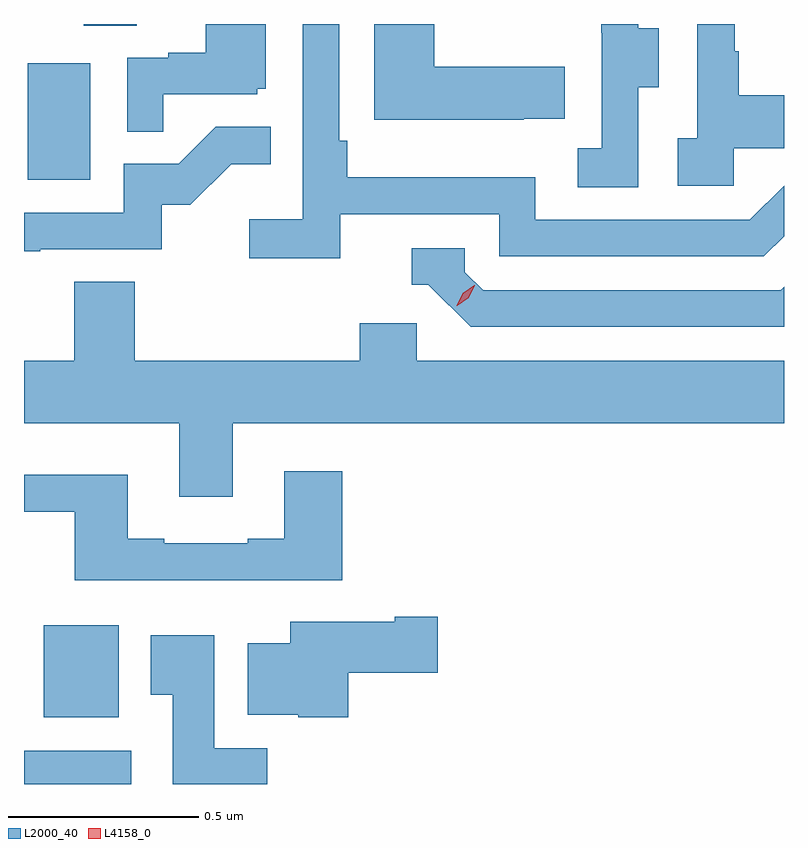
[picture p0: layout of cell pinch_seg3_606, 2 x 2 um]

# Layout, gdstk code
import gdstk
lib = gdstk.Library(unit=1e-6, precision=1e-09)
def R(c, l, rs):  # rectangles x0, y0, x1, y1
    for r in rs: c.add(gdstk.rectangle(r[:2], r[2:], *l))
def P(c, l, *ps):  # polygons
    for p in ps: c.add(gdstk.Polygon(p, *l))
L2000_40 = (2000, 40)
L4158_0 = (4158, 0)

pinch_seg3_606 = lib.new_cell('pinch_seg3_606')
R(pinch_seg3_606, L2000_40, [(1028.668,691.974,1028.95,692.062), (1028.72,692.15,1028.917,692.392), (1028.678,693.564,1028.842,693.871), (1028.825,693.97,1028.965,693.974)])
P(pinch_seg3_606, L2000_40, [(1030.536,693.647),(1030.668,693.647),(1030.668,693.787),(1030.549,693.787),(1030.549,693.902),(1030.539,693.902),(1030.539,693.974),(1030.44,693.974),(1030.44,693.674),(1030.389,693.674),(1030.389,693.549),(1030.536,693.549)],
  [(1029.983,693.725),(1030.091,693.725),(1030.091,693.862),(1029.748,693.862),(1029.748,693.974),(1029.59,693.974),(1029.59,693.722),(1029.983,693.722)],
  [(1030.284,693.808),(1030.339,693.808),(1030.339,693.963),(1030.285,693.963),(1030.285,693.974),(1030.187,693.974),(1030.187,693.951),(1030.188,693.951),(1030.188,693.647),(1030.125,693.647),(1030.125,693.544),(1030.284,693.544)],
  [(1029.5,693.474),(1029.918,693.474),(1029.918,693.363),(1030.615,693.363),(1030.668,693.416),(1030.668,693.549),(1030.578,693.459),(1030.014,693.459),(1030.014,693.571),(1029.518,693.571),(1029.518,693.667),(1029.498,693.667),(1029.498,693.974),(1029.402,693.974),(1029.402,693.46),(1029.261,693.46),(1029.261,693.358),(1029.5,693.358)],
  [(1029.035,693.789),(1029.282,693.789),(1029.282,693.804),(1029.304,693.804),(1029.304,693.974),(1029.146,693.974),(1029.146,693.898),(1029.047,693.898),(1029.047,693.885),(1028.94,693.885),(1028.94,693.691),(1029.035,693.691)],
  [(1028.711,693.381),(1029.03,693.381),(1029.03,693.498),(1029.106,693.498),(1029.213,693.605),(1029.317,693.605),(1029.317,693.704),(1029.173,693.704),(1029.075,693.606),(1028.931,693.606),(1028.931,693.477),(1028.668,693.477),(1028.668,693.376),(1028.711,693.376)],
  [(1030.668,693.282),(1030.659,693.273),(1029.876,693.273),(1029.828,693.321),(1029.828,693.384),(1029.689,693.384),(1029.689,693.288),(1029.732,693.288),(1029.843,693.177),(1030.668,693.177)],
  [(1029.217,692.924),(1030.668,692.924),(1030.668,693.088),(1029.702,693.088),(1029.702,693.186),(1029.551,693.186),(1029.551,693.088),(1028.96,693.088),(1028.96,693.296),(1028.8,693.296),(1028.8,693.088),(1028.668,693.088),(1028.668,692.924),(1029.077,692.924),(1029.077,692.73),(1029.217,692.73)],
  [(1029.506,692.797),(1029.353,692.797),(1029.353,692.62),(1029.257,692.62),(1029.257,692.607),(1029.037,692.607),(1029.037,692.62),(1028.941,692.62),(1028.941,692.788),(1028.668,692.788),(1028.668,692.691),(1028.801,692.691),(1028.801,692.51),(1029.506,692.51)],
  [(1029.521,692.267),(1029.757,692.267),(1029.757,692.414),(1029.644,692.414),(1029.644,692.401),(1029.368,692.401),(1029.368,692.344),(1029.257,692.344),(1029.257,692.156),(1029.39,692.156),(1029.39,692.15),(1029.521,692.15)],
  [(1029.308,692.068),(1029.169,692.068),(1029.169,692.365),(1029.002,692.365),(1029.002,692.209),(1029.059,692.209),(1029.059,691.974),(1029.308,691.974)])
P(pinch_seg3_606, L4158_0, [(1029.807,693.233),(1029.807,693.233),(1029.823,693.266),(1029.853,693.286),(1029.854,693.286),(1029.854,693.286),(1029.838,693.253),(1029.808,693.233)])

lib.write_gds('pinch_seg3_606.gds')
